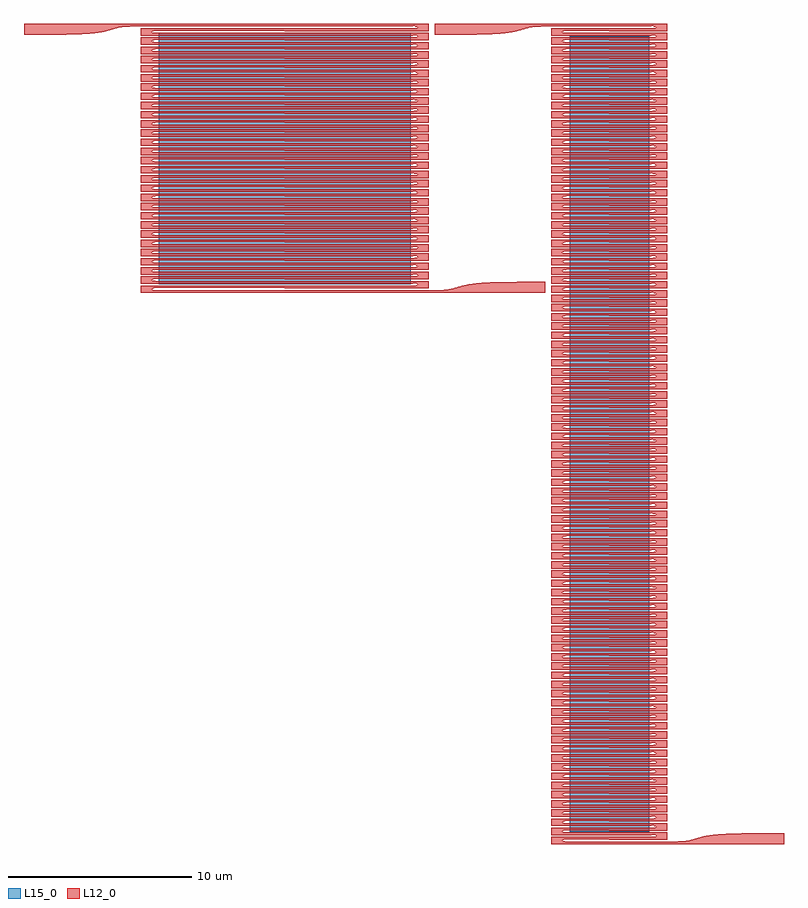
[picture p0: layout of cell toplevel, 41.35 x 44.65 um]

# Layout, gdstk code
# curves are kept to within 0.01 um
from math import pi, radians
import gdstk
lib = gdstk.Library(unit=1e-6, precision=1e-09)
def R(c, l, rs):  # rectangles x0, y0, x1, y1
    for r in rs: c.add(gdstk.rectangle(r[:2], r[2:], *l))
def P(c, l, *ps):  # polygons
    for p in ps: c.add(gdstk.Polygon(p, *l))
L12_0 = (12, 0)
L15_0 = (15, 0)

rectangle = lib.new_cell('rectangle')
R(rectangle, L12_0, [(0,0,7.847,0.15)])

compass = lib.new_cell('compass')
compass.add(gdstk.Reference(rectangle, (-3.923,-0.075)))

hairpin = lib.new_cell('hairpin')
P(hairpin, L12_0, [(-0.25,-0.05),(-0.037,-0.038),(0.003,-0.024),(0.018,0),(0.618,0),(0.618,-0.2),(-7.228,-0.2),(-7.228,-0.05)],
  [(-0.25,0.05),(-0.037,0.038),(0.003,0.024),(0.018,0),(0.618,0),(0.618,0.2),(-7.228,0.2),(-7.228,0.05)])

rectangle001 = lib.new_cell('rectangle001')
R(rectangle001, L12_0, [(0,0,7.847,0.15)])

compass001 = lib.new_cell('compass001')
compass001.add(gdstk.Reference(rectangle001, (-3.923,-0.075)))

snspd = lib.new_cell('snspd')
snspd.add(gdstk.Reference(compass, (0,0)))
snspd.add(gdstk.Reference(hairpin, (11.152,-0.125)))
snspd.add(gdstk.Reference(hairpin, (-3.305,-0.375), rotation=pi))
snspd.add(gdstk.Reference(hairpin, (11.152,-0.625)))
snspd.add(gdstk.Reference(hairpin, (-3.305,-0.875), rotation=pi))
snspd.add(gdstk.Reference(hairpin, (11.152,-1.125)))
snspd.add(gdstk.Reference(hairpin, (-3.305,-1.375), rotation=pi))
snspd.add(gdstk.Reference(hairpin, (11.152,-1.625)))
snspd.add(gdstk.Reference(hairpin, (-3.305,-1.875), rotation=pi))
snspd.add(gdstk.Reference(hairpin, (11.152,-2.125)))
snspd.add(gdstk.Reference(hairpin, (-3.305,-2.375), rotation=pi))
snspd.add(gdstk.Reference(hairpin, (11.152,-2.625)))
snspd.add(gdstk.Reference(hairpin, (-3.305,-2.875), rotation=pi))
snspd.add(gdstk.Reference(hairpin, (11.152,-3.125)))
snspd.add(gdstk.Reference(hairpin, (-3.305,-3.375), rotation=pi))
snspd.add(gdstk.Reference(hairpin, (11.152,-3.625)))
snspd.add(gdstk.Reference(hairpin, (-3.305,-3.875), rotation=pi))
snspd.add(gdstk.Reference(hairpin, (11.152,-4.125)))
snspd.add(gdstk.Reference(hairpin, (-3.305,-4.375), rotation=pi))
snspd.add(gdstk.Reference(hairpin, (11.152,-4.625)))
snspd.add(gdstk.Reference(hairpin, (-3.305,-4.875), rotation=pi))
snspd.add(gdstk.Reference(hairpin, (11.152,-5.125)))
snspd.add(gdstk.Reference(hairpin, (-3.305,-5.375), rotation=pi))
snspd.add(gdstk.Reference(hairpin, (11.152,-5.625)))
snspd.add(gdstk.Reference(hairpin, (-3.305,-5.875), rotation=pi))
snspd.add(gdstk.Reference(hairpin, (11.152,-6.125)))
snspd.add(gdstk.Reference(hairpin, (-3.305,-6.375), rotation=pi))
snspd.add(gdstk.Reference(hairpin, (11.152,-6.625)))
snspd.add(gdstk.Reference(hairpin, (-3.305,-6.875), rotation=pi))
snspd.add(gdstk.Reference(hairpin, (11.152,-7.125)))
snspd.add(gdstk.Reference(hairpin, (-3.305,-7.375), rotation=pi))
snspd.add(gdstk.Reference(hairpin, (11.152,-7.625)))
snspd.add(gdstk.Reference(hairpin, (-3.305,-7.875), rotation=pi))
snspd.add(gdstk.Reference(hairpin, (11.152,-8.125)))
snspd.add(gdstk.Reference(hairpin, (-3.305,-8.375), rotation=pi))
snspd.add(gdstk.Reference(hairpin, (11.152,-8.625)))
snspd.add(gdstk.Reference(hairpin, (-3.305,-8.875), rotation=pi))
snspd.add(gdstk.Reference(hairpin, (11.152,-9.125)))
snspd.add(gdstk.Reference(hairpin, (-3.305,-9.375), rotation=pi))
snspd.add(gdstk.Reference(hairpin, (11.152,-9.625)))
snspd.add(gdstk.Reference(hairpin, (-3.305,-9.875), rotation=pi))
snspd.add(gdstk.Reference(hairpin, (11.152,-10.125)))
snspd.add(gdstk.Reference(hairpin, (-3.305,-10.375), rotation=pi))
snspd.add(gdstk.Reference(hairpin, (11.152,-10.625)))
snspd.add(gdstk.Reference(hairpin, (-3.305,-10.875), rotation=pi))
snspd.add(gdstk.Reference(hairpin, (11.152,-11.125)))
snspd.add(gdstk.Reference(hairpin, (-3.305,-11.375), rotation=pi))
snspd.add(gdstk.Reference(hairpin, (11.152,-11.625)))
snspd.add(gdstk.Reference(hairpin, (-3.305,-11.875), rotation=pi))
snspd.add(gdstk.Reference(hairpin, (11.152,-12.125)))
snspd.add(gdstk.Reference(hairpin, (-3.305,-12.375), rotation=pi))
snspd.add(gdstk.Reference(hairpin, (11.152,-12.625)))
snspd.add(gdstk.Reference(hairpin, (-3.305,-12.875), rotation=pi))
snspd.add(gdstk.Reference(hairpin, (11.152,-13.125)))
snspd.add(gdstk.Reference(hairpin, (-3.305,-13.375), rotation=pi))
snspd.add(gdstk.Reference(hairpin, (11.152,-13.625)))
snspd.add(gdstk.Reference(hairpin, (-3.305,-13.875), rotation=pi))
snspd.add(gdstk.Reference(hairpin, (11.152,-14.125)))
snspd.add(gdstk.Reference(hairpin, (-3.305,-14.375), rotation=pi))
snspd.add(gdstk.Reference(compass001, (7.847,-14.5), rotation=pi))

step = lib.new_cell('step')
P(step, L12_0, [(-0.975,0.15),(-0.335,0.154),(0.05,0.18),(1.075,0.44),(1.395,0.493),(1.907,0.545),(2.932,0.586),(5.366,0.6),(5.366,0),(-0.975,0)])

snspd_expanded = lib.new_cell('snspd_expanded')
snspd_expanded.add(gdstk.Reference(snspd, (0,0)))
snspd_expanded.add(gdstk.Reference(step, (-4.898,0.075), rotation=pi))
snspd_expanded.add(gdstk.Reference(step, (12.745,-14.575)))

rectangle002 = lib.new_cell('rectangle002')
R(rectangle002, L15_0, [(0,0,13.693,13.693)])

compass002 = lib.new_cell('compass002')
compass002.add(gdstk.Reference(rectangle002, (-6.847,-6.847)))

htron = lib.new_cell('htron')
htron.add(gdstk.Reference(snspd_expanded, (0,0)))
htron.add(gdstk.Reference(compass002, (3.923,-7.25)))

rectangle003 = lib.new_cell('rectangle003')
R(rectangle003, L12_0, [(0,0,3.165,0.15)])

compass003 = lib.new_cell('compass003')
compass003.add(gdstk.Reference(rectangle003, (-1.583,-0.075)))

hairpin001 = lib.new_cell('hairpin001')
P(hairpin001, L12_0, [(-0.25,-0.05),(-0.037,-0.038),(0.003,-0.024),(0.018,0),(0.618,0),(0.618,-0.2),(-2.547,-0.2),(-2.547,-0.05)],
  [(-0.25,0.05),(-0.037,0.038),(0.003,0.024),(0.018,0),(0.618,0),(0.618,0.2),(-2.547,0.2),(-2.547,0.05)])

rectangle004 = lib.new_cell('rectangle004')
R(rectangle004, L12_0, [(0,0,3.165,0.15)])

compass004 = lib.new_cell('compass004')
compass004.add(gdstk.Reference(rectangle004, (-1.583,-0.075)))

snspd001 = lib.new_cell('snspd001')
snspd001.add(gdstk.Reference(compass003, (0,0)))
snspd001.add(gdstk.Reference(hairpin001, (4.129,-0.125)))
snspd001.add(gdstk.Reference(hairpin001, (-0.964,-0.375), rotation=pi))
snspd001.add(gdstk.Reference(hairpin001, (4.129,-0.625)))
snspd001.add(gdstk.Reference(hairpin001, (-0.964,-0.875), rotation=pi))
snspd001.add(gdstk.Reference(hairpin001, (4.129,-1.125)))
snspd001.add(gdstk.Reference(hairpin001, (-0.964,-1.375), rotation=pi))
snspd001.add(gdstk.Reference(hairpin001, (4.129,-1.625)))
snspd001.add(gdstk.Reference(hairpin001, (-0.964,-1.875), rotation=pi))
snspd001.add(gdstk.Reference(hairpin001, (4.129,-2.125)))
snspd001.add(gdstk.Reference(hairpin001, (-0.964,-2.375), rotation=pi))
snspd001.add(gdstk.Reference(hairpin001, (4.129,-2.625)))
snspd001.add(gdstk.Reference(hairpin001, (-0.964,-2.875), rotation=pi))
snspd001.add(gdstk.Reference(hairpin001, (4.129,-3.125)))
snspd001.add(gdstk.Reference(hairpin001, (-0.964,-3.375), rotation=pi))
snspd001.add(gdstk.Reference(hairpin001, (4.129,-3.625)))
snspd001.add(gdstk.Reference(hairpin001, (-0.964,-3.875), rotation=pi))
snspd001.add(gdstk.Reference(hairpin001, (4.129,-4.125)))
snspd001.add(gdstk.Reference(hairpin001, (-0.964,-4.375), rotation=pi))
snspd001.add(gdstk.Reference(hairpin001, (4.129,-4.625)))
snspd001.add(gdstk.Reference(hairpin001, (-0.964,-4.875), rotation=pi))
snspd001.add(gdstk.Reference(hairpin001, (4.129,-5.125)))
snspd001.add(gdstk.Reference(hairpin001, (-0.964,-5.375), rotation=pi))
snspd001.add(gdstk.Reference(hairpin001, (4.129,-5.625)))
snspd001.add(gdstk.Reference(hairpin001, (-0.964,-5.875), rotation=pi))
snspd001.add(gdstk.Reference(hairpin001, (4.129,-6.125)))
snspd001.add(gdstk.Reference(hairpin001, (-0.964,-6.375), rotation=pi))
snspd001.add(gdstk.Reference(hairpin001, (4.129,-6.625)))
snspd001.add(gdstk.Reference(hairpin001, (-0.964,-6.875), rotation=pi))
snspd001.add(gdstk.Reference(hairpin001, (4.129,-7.125)))
snspd001.add(gdstk.Reference(hairpin001, (-0.964,-7.375), rotation=pi))
snspd001.add(gdstk.Reference(hairpin001, (4.129,-7.625)))
snspd001.add(gdstk.Reference(hairpin001, (-0.964,-7.875), rotation=pi))
snspd001.add(gdstk.Reference(hairpin001, (4.129,-8.125)))
snspd001.add(gdstk.Reference(hairpin001, (-0.964,-8.375), rotation=pi))
snspd001.add(gdstk.Reference(hairpin001, (4.129,-8.625)))
snspd001.add(gdstk.Reference(hairpin001, (-0.964,-8.875), rotation=pi))
snspd001.add(gdstk.Reference(hairpin001, (4.129,-9.125)))
snspd001.add(gdstk.Reference(hairpin001, (-0.964,-9.375), rotation=pi))
snspd001.add(gdstk.Reference(hairpin001, (4.129,-9.625)))
snspd001.add(gdstk.Reference(hairpin001, (-0.964,-9.875), rotation=pi))
snspd001.add(gdstk.Reference(hairpin001, (4.129,-10.125)))
snspd001.add(gdstk.Reference(hairpin001, (-0.964,-10.375), rotation=pi))
snspd001.add(gdstk.Reference(hairpin001, (4.129,-10.625)))
snspd001.add(gdstk.Reference(hairpin001, (-0.964,-10.875), rotation=pi))
snspd001.add(gdstk.Reference(hairpin001, (4.129,-11.125)))
snspd001.add(gdstk.Reference(hairpin001, (-0.964,-11.375), rotation=pi))
snspd001.add(gdstk.Reference(hairpin001, (4.129,-11.625)))
snspd001.add(gdstk.Reference(hairpin001, (-0.964,-11.875), rotation=pi))
snspd001.add(gdstk.Reference(hairpin001, (4.129,-12.125)))
snspd001.add(gdstk.Reference(hairpin001, (-0.964,-12.375), rotation=pi))
snspd001.add(gdstk.Reference(hairpin001, (4.129,-12.625)))
snspd001.add(gdstk.Reference(hairpin001, (-0.964,-12.875), rotation=pi))
snspd001.add(gdstk.Reference(hairpin001, (4.129,-13.125)))
snspd001.add(gdstk.Reference(hairpin001, (-0.964,-13.375), rotation=pi))
snspd001.add(gdstk.Reference(hairpin001, (4.129,-13.625)))
snspd001.add(gdstk.Reference(hairpin001, (-0.964,-13.875), rotation=pi))
snspd001.add(gdstk.Reference(hairpin001, (4.129,-14.125)))
snspd001.add(gdstk.Reference(hairpin001, (-0.964,-14.375), rotation=pi))
snspd001.add(gdstk.Reference(hairpin001, (4.129,-14.625)))
snspd001.add(gdstk.Reference(hairpin001, (-0.964,-14.875), rotation=pi))
snspd001.add(gdstk.Reference(hairpin001, (4.129,-15.125)))
snspd001.add(gdstk.Reference(hairpin001, (-0.964,-15.375), rotation=pi))
snspd001.add(gdstk.Reference(hairpin001, (4.129,-15.625)))
snspd001.add(gdstk.Reference(hairpin001, (-0.964,-15.875), rotation=pi))
snspd001.add(gdstk.Reference(hairpin001, (4.129,-16.125)))
snspd001.add(gdstk.Reference(hairpin001, (-0.964,-16.375), rotation=pi))
snspd001.add(gdstk.Reference(hairpin001, (4.129,-16.625)))
snspd001.add(gdstk.Reference(hairpin001, (-0.964,-16.875), rotation=pi))
snspd001.add(gdstk.Reference(hairpin001, (4.129,-17.125)))
snspd001.add(gdstk.Reference(hairpin001, (-0.964,-17.375), rotation=pi))
snspd001.add(gdstk.Reference(hairpin001, (4.129,-17.625)))
snspd001.add(gdstk.Reference(hairpin001, (-0.964,-17.875), rotation=pi))
snspd001.add(gdstk.Reference(hairpin001, (4.129,-18.125)))
snspd001.add(gdstk.Reference(hairpin001, (-0.964,-18.375), rotation=pi))
snspd001.add(gdstk.Reference(hairpin001, (4.129,-18.625)))
snspd001.add(gdstk.Reference(hairpin001, (-0.964,-18.875), rotation=pi))
snspd001.add(gdstk.Reference(hairpin001, (4.129,-19.125)))
snspd001.add(gdstk.Reference(hairpin001, (-0.964,-19.375), rotation=pi))
snspd001.add(gdstk.Reference(hairpin001, (4.129,-19.625)))
snspd001.add(gdstk.Reference(hairpin001, (-0.964,-19.875), rotation=pi))
snspd001.add(gdstk.Reference(hairpin001, (4.129,-20.125)))
snspd001.add(gdstk.Reference(hairpin001, (-0.964,-20.375), rotation=pi))
snspd001.add(gdstk.Reference(hairpin001, (4.129,-20.625)))
snspd001.add(gdstk.Reference(hairpin001, (-0.964,-20.875), rotation=pi))
snspd001.add(gdstk.Reference(hairpin001, (4.129,-21.125)))
snspd001.add(gdstk.Reference(hairpin001, (-0.964,-21.375), rotation=pi))
snspd001.add(gdstk.Reference(hairpin001, (4.129,-21.625)))
snspd001.add(gdstk.Reference(hairpin001, (-0.964,-21.875), rotation=pi))
snspd001.add(gdstk.Reference(hairpin001, (4.129,-22.125)))
snspd001.add(gdstk.Reference(hairpin001, (-0.964,-22.375), rotation=pi))
snspd001.add(gdstk.Reference(hairpin001, (4.129,-22.625)))
snspd001.add(gdstk.Reference(hairpin001, (-0.964,-22.875), rotation=pi))
snspd001.add(gdstk.Reference(hairpin001, (4.129,-23.125)))
snspd001.add(gdstk.Reference(hairpin001, (-0.964,-23.375), rotation=pi))
snspd001.add(gdstk.Reference(hairpin001, (4.129,-23.625)))
snspd001.add(gdstk.Reference(hairpin001, (-0.964,-23.875), rotation=pi))
snspd001.add(gdstk.Reference(hairpin001, (4.129,-24.125)))
snspd001.add(gdstk.Reference(hairpin001, (-0.964,-24.375), rotation=pi))
snspd001.add(gdstk.Reference(hairpin001, (4.129,-24.625)))
snspd001.add(gdstk.Reference(hairpin001, (-0.964,-24.875), rotation=pi))
snspd001.add(gdstk.Reference(hairpin001, (4.129,-25.125)))
snspd001.add(gdstk.Reference(hairpin001, (-0.964,-25.375), rotation=pi))
snspd001.add(gdstk.Reference(hairpin001, (4.129,-25.625)))
snspd001.add(gdstk.Reference(hairpin001, (-0.964,-25.875), rotation=pi))
snspd001.add(gdstk.Reference(hairpin001, (4.129,-26.125)))
snspd001.add(gdstk.Reference(hairpin001, (-0.964,-26.375), rotation=pi))
snspd001.add(gdstk.Reference(hairpin001, (4.129,-26.625)))
snspd001.add(gdstk.Reference(hairpin001, (-0.964,-26.875), rotation=pi))
snspd001.add(gdstk.Reference(hairpin001, (4.129,-27.125)))
snspd001.add(gdstk.Reference(hairpin001, (-0.964,-27.375), rotation=pi))
snspd001.add(gdstk.Reference(hairpin001, (4.129,-27.625)))
snspd001.add(gdstk.Reference(hairpin001, (-0.964,-27.875), rotation=pi))
snspd001.add(gdstk.Reference(hairpin001, (4.129,-28.125)))
snspd001.add(gdstk.Reference(hairpin001, (-0.964,-28.375), rotation=pi))
snspd001.add(gdstk.Reference(hairpin001, (4.129,-28.625)))
snspd001.add(gdstk.Reference(hairpin001, (-0.964,-28.875), rotation=pi))
snspd001.add(gdstk.Reference(hairpin001, (4.129,-29.125)))
snspd001.add(gdstk.Reference(hairpin001, (-0.964,-29.375), rotation=pi))
snspd001.add(gdstk.Reference(hairpin001, (4.129,-29.625)))
snspd001.add(gdstk.Reference(hairpin001, (-0.964,-29.875), rotation=pi))
snspd001.add(gdstk.Reference(hairpin001, (4.129,-30.125)))
snspd001.add(gdstk.Reference(hairpin001, (-0.964,-30.375), rotation=pi))
snspd001.add(gdstk.Reference(hairpin001, (4.129,-30.625)))
snspd001.add(gdstk.Reference(hairpin001, (-0.964,-30.875), rotation=pi))
snspd001.add(gdstk.Reference(hairpin001, (4.129,-31.125)))
snspd001.add(gdstk.Reference(hairpin001, (-0.964,-31.375), rotation=pi))
snspd001.add(gdstk.Reference(hairpin001, (4.129,-31.625)))
snspd001.add(gdstk.Reference(hairpin001, (-0.964,-31.875), rotation=pi))
snspd001.add(gdstk.Reference(hairpin001, (4.129,-32.125)))
snspd001.add(gdstk.Reference(hairpin001, (-0.964,-32.375), rotation=pi))
snspd001.add(gdstk.Reference(hairpin001, (4.129,-32.625)))
snspd001.add(gdstk.Reference(hairpin001, (-0.964,-32.875), rotation=pi))
snspd001.add(gdstk.Reference(hairpin001, (4.129,-33.125)))
snspd001.add(gdstk.Reference(hairpin001, (-0.964,-33.375), rotation=pi))
snspd001.add(gdstk.Reference(hairpin001, (4.129,-33.625)))
snspd001.add(gdstk.Reference(hairpin001, (-0.964,-33.875), rotation=pi))
snspd001.add(gdstk.Reference(hairpin001, (4.129,-34.125)))
snspd001.add(gdstk.Reference(hairpin001, (-0.964,-34.375), rotation=pi))
snspd001.add(gdstk.Reference(hairpin001, (4.129,-34.625)))
snspd001.add(gdstk.Reference(hairpin001, (-0.964,-34.875), rotation=pi))
snspd001.add(gdstk.Reference(hairpin001, (4.129,-35.125)))
snspd001.add(gdstk.Reference(hairpin001, (-0.964,-35.375), rotation=pi))
snspd001.add(gdstk.Reference(hairpin001, (4.129,-35.625)))
snspd001.add(gdstk.Reference(hairpin001, (-0.964,-35.875), rotation=pi))
snspd001.add(gdstk.Reference(hairpin001, (4.129,-36.125)))
snspd001.add(gdstk.Reference(hairpin001, (-0.964,-36.375), rotation=pi))
snspd001.add(gdstk.Reference(hairpin001, (4.129,-36.625)))
snspd001.add(gdstk.Reference(hairpin001, (-0.964,-36.875), rotation=pi))
snspd001.add(gdstk.Reference(hairpin001, (4.129,-37.125)))
snspd001.add(gdstk.Reference(hairpin001, (-0.964,-37.375), rotation=pi))
snspd001.add(gdstk.Reference(hairpin001, (4.129,-37.625)))
snspd001.add(gdstk.Reference(hairpin001, (-0.964,-37.875), rotation=pi))
snspd001.add(gdstk.Reference(hairpin001, (4.129,-38.125)))
snspd001.add(gdstk.Reference(hairpin001, (-0.964,-38.375), rotation=pi))
snspd001.add(gdstk.Reference(hairpin001, (4.129,-38.625)))
snspd001.add(gdstk.Reference(hairpin001, (-0.964,-38.875), rotation=pi))
snspd001.add(gdstk.Reference(hairpin001, (4.129,-39.125)))
snspd001.add(gdstk.Reference(hairpin001, (-0.964,-39.375), rotation=pi))
snspd001.add(gdstk.Reference(hairpin001, (4.129,-39.625)))
snspd001.add(gdstk.Reference(hairpin001, (-0.964,-39.875), rotation=pi))
snspd001.add(gdstk.Reference(hairpin001, (4.129,-40.125)))
snspd001.add(gdstk.Reference(hairpin001, (-0.964,-40.375), rotation=pi))
snspd001.add(gdstk.Reference(hairpin001, (4.129,-40.625)))
snspd001.add(gdstk.Reference(hairpin001, (-0.964,-40.875), rotation=pi))
snspd001.add(gdstk.Reference(hairpin001, (4.129,-41.125)))
snspd001.add(gdstk.Reference(hairpin001, (-0.964,-41.375), rotation=pi))
snspd001.add(gdstk.Reference(hairpin001, (4.129,-41.625)))
snspd001.add(gdstk.Reference(hairpin001, (-0.964,-41.875), rotation=pi))
snspd001.add(gdstk.Reference(hairpin001, (4.129,-42.125)))
snspd001.add(gdstk.Reference(hairpin001, (-0.964,-42.375), rotation=pi))
snspd001.add(gdstk.Reference(hairpin001, (4.129,-42.625)))
snspd001.add(gdstk.Reference(hairpin001, (-0.964,-42.875), rotation=pi))
snspd001.add(gdstk.Reference(hairpin001, (4.129,-43.125)))
snspd001.add(gdstk.Reference(hairpin001, (-0.964,-43.375), rotation=pi))
snspd001.add(gdstk.Reference(hairpin001, (4.129,-43.625)))
snspd001.add(gdstk.Reference(hairpin001, (-0.964,-43.875), rotation=pi))
snspd001.add(gdstk.Reference(hairpin001, (4.129,-44.125)))
snspd001.add(gdstk.Reference(hairpin001, (-0.964,-44.375), rotation=pi))
snspd001.add(gdstk.Reference(compass004, (3.165,-44.5), rotation=pi))

step001 = lib.new_cell('step001')
P(step001, L12_0, [(-0.975,0.15),(-0.335,0.154),(0.05,0.18),(1.075,0.44),(1.395,0.493),(1.907,0.545),(2.932,0.586),(5.366,0.6),(5.366,0),(-0.975,0)])

snspd_expanded001 = lib.new_cell('snspd_expanded001')
snspd_expanded001.add(gdstk.Reference(snspd001, (0,0)))
snspd_expanded001.add(gdstk.Reference(step001, (-2.558,0.075), rotation=pi))
snspd_expanded001.add(gdstk.Reference(step001, (5.723,-44.575)))

rectangle005 = lib.new_cell('rectangle005')
R(rectangle005, L15_0, [(0,0,4.33,43.301)])

compass005 = lib.new_cell('compass005')
compass005.add(gdstk.Reference(rectangle005, (-2.165,-21.651)))

htron001 = lib.new_cell('htron001')
htron001.add(gdstk.Reference(snspd_expanded001, (20,0)))
htron001.add(gdstk.Reference(compass005, (21.583,-22.25)))

toplevel = lib.new_cell('toplevel')
toplevel.add(gdstk.Reference(htron, (0,0)))
toplevel.add(gdstk.Reference(htron001, (0,0)))

lib.write_gds('toplevel.gds')
